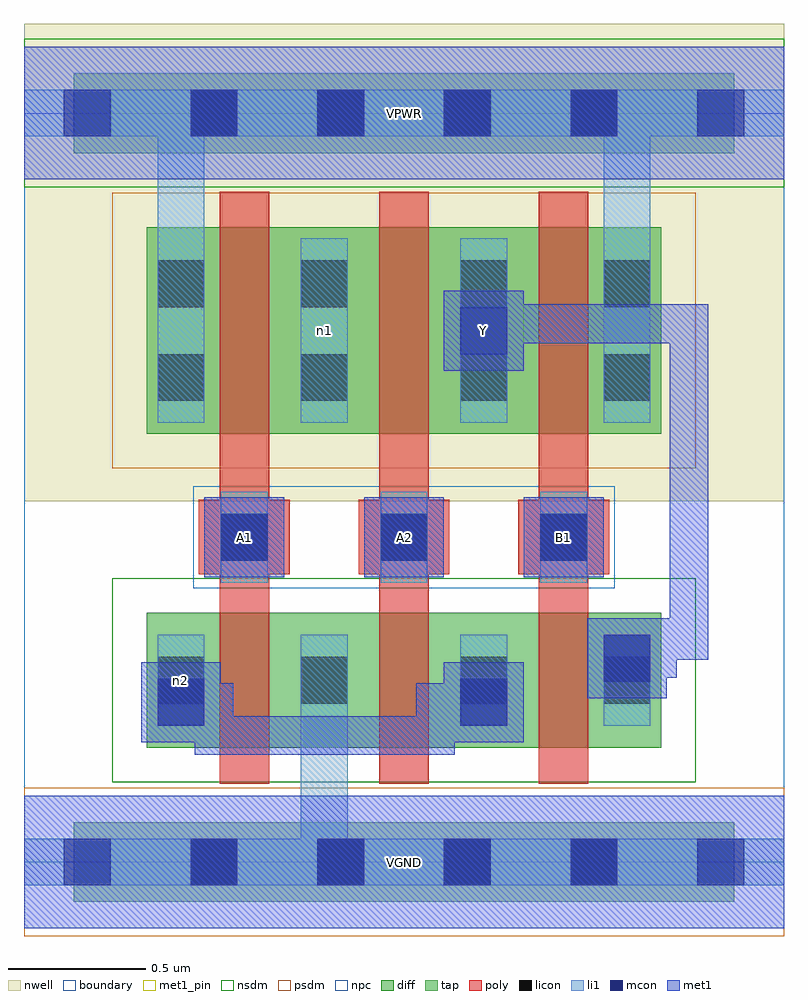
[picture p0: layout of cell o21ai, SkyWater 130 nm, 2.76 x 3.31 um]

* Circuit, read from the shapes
.subckt o21ai A1 A2 B1 VGND VPWR Y n1 n2
XM1 VGND A1 n2 VGND sky130_fd_pr__nfet_01v8 w=0.49 l=0.18
XM2 n2 A2 VGND VGND sky130_fd_pr__nfet_01v8 w=0.49 l=0.18
XM3 Y B1 n2 VGND sky130_fd_pr__nfet_01v8 w=0.49 l=0.18
XM4 n1 A1 VPWR VPWR sky130_fd_pr__pfet_01v8 w=0.75 l=0.18
XM5 Y A2 n1 VPWR sky130_fd_pr__pfet_01v8 w=0.75 l=0.18
XM6 VPWR B1 Y VPWR sky130_fd_pr__pfet_01v8 w=0.75 l=0.18
.ends

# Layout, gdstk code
import gdstk
lib = gdstk.Library(unit=1e-6, precision=1e-09)
def R(c, l, rs):  # rectangles x0, y0, x1, y1
    for r in rs: c.add(gdstk.rectangle(r[:2], r[2:], *l))
def A(c, l, x, y, w, h, nx, ny, dx, dy):  # array of equal rectangles
    R(c, l, [(x+i*dx, y+j*dy, x+i*dx+w, y+j*dy+h) for i in range(nx) for j in range(ny)])
nwell = (64, 20)
diff = (65, 20)
tap = (65, 44)
poly = (66, 20)
licon = (66, 44)
li1 = (67, 20)
mcon = (67, 44)
met1_pin = (68, 16)
met1 = (68, 20)
nsdm = (93, 44)
psdm = (94, 20)
npc = (95, 20)
boundary = (235, 4)

o21ai = lib.new_cell('o21ai')
R(o21ai, nwell, [(0,1.31,2.76,3.045)])
R(o21ai, diff, [(0.445,0.415,2.315,0.905), (0.445,1.555,2.315,2.305)])
R(o21ai, tap, [(0.18,-0.145,2.58,0.145), (0.18,2.575,2.58,2.865)])
A(o21ai, poly, 0.71, 0.285, 0.18, 2.15, 3, 1, 0.58, 0)
A(o21ai, poly, 0.635, 1.045, 0.33, 0.27, 3, 1, 0.58, 0)
A(o21ai, licon, 0.605, -0.085, 0.17, 0.17, 4, 2, 0.46, 2.72)
A(o21ai, licon, 0.715, 1.095, 0.17, 0.17, 3, 1, 0.58, 0)
R(o21ai, licon, [(0.485,0.575,0.655,0.745), (1.005,0.575,1.175,0.745), (1.585,0.575,1.755,0.745), (2.105,0.575,2.275,0.745), (0.485,1.675,0.655,1.845), (1.005,1.675,1.175,1.845), (1.585,1.675,1.755,1.845), (2.105,1.675,2.275,1.845), (0.485,2.015,0.655,2.185), (1.005,2.015,1.175,2.185), (1.585,2.015,1.755,2.185), (2.105,2.015,2.275,2.185)])
A(o21ai, li1, 0.715, 1.015, 0.17, 0.33, 3, 1, 0.58, 0)
R(o21ai, li1, [(0,-0.085,2.76,0.085), (1.005,-0.085,1.175,0.825), (0.485,0.495,0.655,0.825), (1.005,0.495,1.175,0.825), (1.585,0.495,1.755,0.825), (2.105,0.495,2.275,0.825), (0.485,1.595,0.655,2.265), (0.485,1.595,0.655,2.805), (1.005,1.595,1.175,2.265), (1.585,1.595,1.755,2.265), (2.105,1.595,2.275,2.265), (2.105,1.595,2.275,2.805), (0,2.635,2.76,2.805)])
A(o21ai, mcon, 0.145, -0.085, 0.17, 0.17, 6, 2, 0.46, 2.72)
A(o21ai, mcon, 0.715, 1.095, 0.17, 0.17, 3, 1, 0.58, 0)
R(o21ai, mcon, [(0.485,0.495,0.655,0.665), (1.585,0.495,1.755,0.665), (2.105,0.655,2.275,0.825), (1.585,1.845,1.755,2.015)])
A(o21ai, met1_pin, 0.655, 1.035, 0.29, 0.29, 3, 1, 0.58, 0)
R(o21ai, met1_pin, [(0,-0.24,2.76,0.24), (1.525,1.785,1.815,2.075), (0,2.48,2.76,2.96)])
A(o21ai, met1, 0.655, 1.035, 0.29, 0.29, 3, 1, 0.58, 0)
R(o21ai, met1, [(0,-0.24,2.76,0.24), (0.62,0.39,0.76,0.65), (0.62,0.39,1.565,0.53), (1.425,0.39,1.565,0.65), (0.425,0.435,0.715,0.725), (1.525,0.435,1.815,0.725), (0.5,0.51,0.76,0.65), (1.425,0.51,1.74,0.65), (2.045,0.595,2.335,0.885), (2.12,0.67,2.37,0.81), (2.23,0.67,2.37,0.875), (2.23,0.735,2.485,0.875), (2.335,0.735,2.345,0.885), (2.345,0.735,2.485,2.025), (1.525,1.785,1.815,2.075), (1.655,1.885,1.795,2.025), (1.655,1.885,2.485,2.025), (0,2.48,2.76,2.96)])
R(o21ai, nsdm, [(0.32,0.29,2.44,1.03), (0,2.45,2.76,2.99)])
R(o21ai, psdm, [(0,-0.27,2.76,0.27), (0.32,1.43,2.44,2.43)])
R(o21ai, npc, [(0.615,0.995,2.145,1.365)])
R(o21ai, boundary, [(0,0,2.76,2.72)])
o21ai.add(gdstk.Label('n2', (0.57,0.66), layer=67, texttype=5))
o21ai.add(gdstk.Label('n1', (1.09,1.93), layer=67, texttype=5))
o21ai.add(gdstk.Label('A1', (0.8,1.18), layer=68, texttype=5))
o21ai.add(gdstk.Label('A2', (1.38,1.18), layer=68, texttype=5))
o21ai.add(gdstk.Label('B1', (1.96,1.18), layer=68, texttype=5))
o21ai.add(gdstk.Label('Y', (1.67,1.93), layer=68, texttype=5))
o21ai.add(gdstk.Label('VPWR', (1.38,2.72), layer=68, texttype=5))
o21ai.add(gdstk.Label('VGND', (1.38,0), layer=68, texttype=5))
o21ai.add(gdstk.Label('A1', (0.8,1.18), layer=68, texttype=16))
o21ai.add(gdstk.Label('A2', (1.38,1.18), layer=68, texttype=16))
o21ai.add(gdstk.Label('B1', (1.96,1.18), layer=68, texttype=16))
o21ai.add(gdstk.Label('Y', (1.67,1.93), layer=68, texttype=16))
o21ai.add(gdstk.Label('VPWR', (1.38,2.72), layer=68, texttype=16))
o21ai.add(gdstk.Label('VGND', (1.38,0), layer=68, texttype=16))

lib.write_gds('o21ai.gds')
